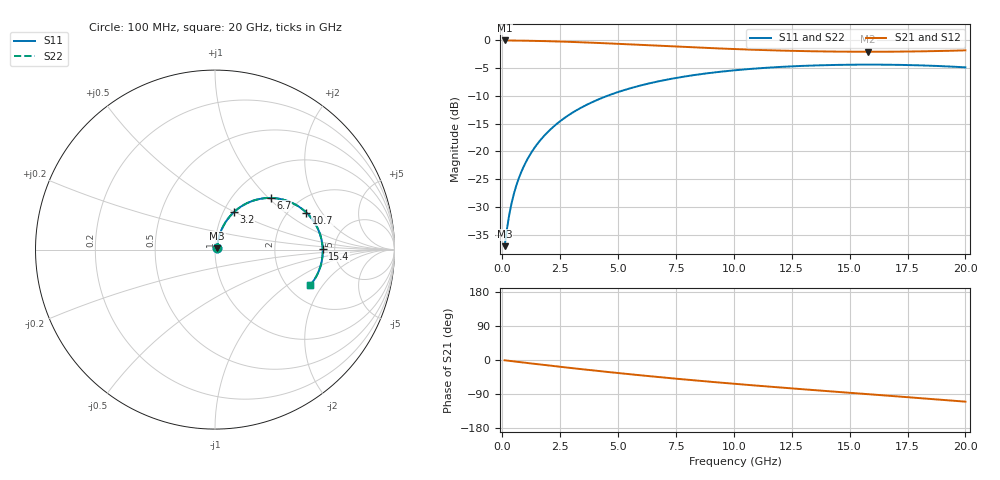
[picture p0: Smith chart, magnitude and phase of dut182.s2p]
! Touchstone file exported from HFSS 2026.1.0
!  File:  C:/ffzhzh/LocalFiles/Ansys_Project_Files/temp_train_TSV_RDL_182_1783057213_46780.aedt
!  Generated:  01:52:53 PM Jul  3, 2026
!  Design:  TSV_RDL
!  Project:  temp_train_TSV_RDL_182_1783057213_46780
! Variables:
!  h_bsmrdl = 2.09um
!  h_ox = 20um
!  h_rdl = 5um
!  h_sub = 53.24um
!  h_tmrdl = 5.9um
!  h_tsv = 53.24um
!  h_via = 3um
!  l_bsmrdl = 305.38um
!  l_sub = 2087.35um
!  l_tmrdl = 157.71um
!  m_sub = 200um
!  pitch = 56.74um
!  r_tsv = 5.74um
!  s_tmrdl = 10um
!  w_bsmrdl = 19.54um
!  w_sub = 500um
!  w_tmrdl = 27.25um
!  x_tsv_center1 = 171.335um
!  x_tsv_center2 = 496.255um
!  x_tsv_center3 = 681.215um
!  x_tsv_center4 = 1006.135um
!  x_tsv_center5 = 1191.095um
!  x_tsv_center6 = 1516.015um
# GHz S MA R 50.000000
! Terminal data exported
! Port[1] = TM_RDL1_1_T1
! Port[2] = TM_RDL5_1_T1
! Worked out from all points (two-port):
!   200 points, 100 MHz to 20 GHz, reference 50 ohm
!   highest |S21| = -0.10 dB at 100 MHz (marker M1); lowest = -2.1 dB at 15.8 GHz (marker M2)
!   |S21| within 3 dB of the highest: start of sweep to end of sweep
!   lowest |S11| = -37.0 dB at 100 MHz (marker M3), VSWR 1.03, Z = 51.2 + j0.822 ohm
!   |S11| at or under -10 dB: start of sweep to 4.556 GHz
!   |S22| runs from -37.0 to -4.4 dB; largest |S21 - S12| = 1e-13
!   S11 on the Smith chart (normalised r, x): 100 MHz: 1.02, +0.02; 3.2 GHz: 1.12, +0.49; 6.7 GHz: 1.47, +1.03; 10.7 GHz: 2.46, +1.45; 15.4 GHz: 4.00, +0.06; 20 GHz: 2.62, -1.53
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0.1  0.01415 34.6  0.9884 -0.8  0.9884 -0.8  0.01415 34.6
! Gamma 0 0 0 0
! Port Impedance 50 0 50 0
0.2  0.02009 52.5  0.9881 -1.5  0.9881 -1.5  0.02009 52.5
0.3  0.02705 61.2  0.9876 -2.2  0.9876 -2.2  0.02705 61.2
0.5  0.04168 68.5  0.9865 -3.7  0.9865 -3.7  0.04168 68.5
0.7  0.05651 71.4  0.9854 -5.1  0.9854 -5.1  0.05651 71.4
1  0.07882 72.7  0.9833 -7.3  0.9833 -7.3  0.07882 72.7
1.4  0.1084 72.2  0.9799 -10.2  0.9799 -10.2  0.1084 72.2
1.9  0.1447 70.3  0.9745 -13.7  0.9745 -13.7  0.1447 70.3
2.5  0.1868 67.2  0.9666 -17.9  0.9666 -17.9  0.1868 67.2
3.2  0.2336 63.2  0.9557 -22.7  0.9557 -22.7  0.2336 63.2
3.5  0.2529 61.5  0.9506 -24.7  0.9506 -24.7  0.2529 61.5
4.9  0.3354 53.2  0.9242 -33.8  0.9242 -33.8  0.3354 53.2
6.7  0.4232 42.8  0.8877 -44.7  0.8877 -44.7  0.4232 42.8
6.8  0.4274 42.3  0.8857 -45.3  0.8857 -45.3  0.4274 42.3
8.4  0.4875 33.7  0.8548 -54.3  0.8548 -54.3  0.4875 33.7
10.1  0.5355 25.0  0.8265 -63.2  0.8265 -63.2  0.5355 25.0
10.7  0.5489 22.1  0.818 -66.2  0.818 -66.2  0.5489 22.1
13.4  0.5891 9.5  0.7907 -79.2  0.7907 -79.2  0.5891 9.5
15.4  0.5999 0.5  0.7829 -88.4  0.7829 -88.4  0.5999 0.5
15.8  0.6003 -1.3  0.7826 -90.2  0.7826 -90.2  0.6003 -1.3
16.7  0.5989 -5.3  0.7836 -94.4  0.7836 -94.4  0.5989 -5.3
20  0.5669 -20.4  0.8057 -109.9  0.8057 -109.9  0.5669 -20.4
